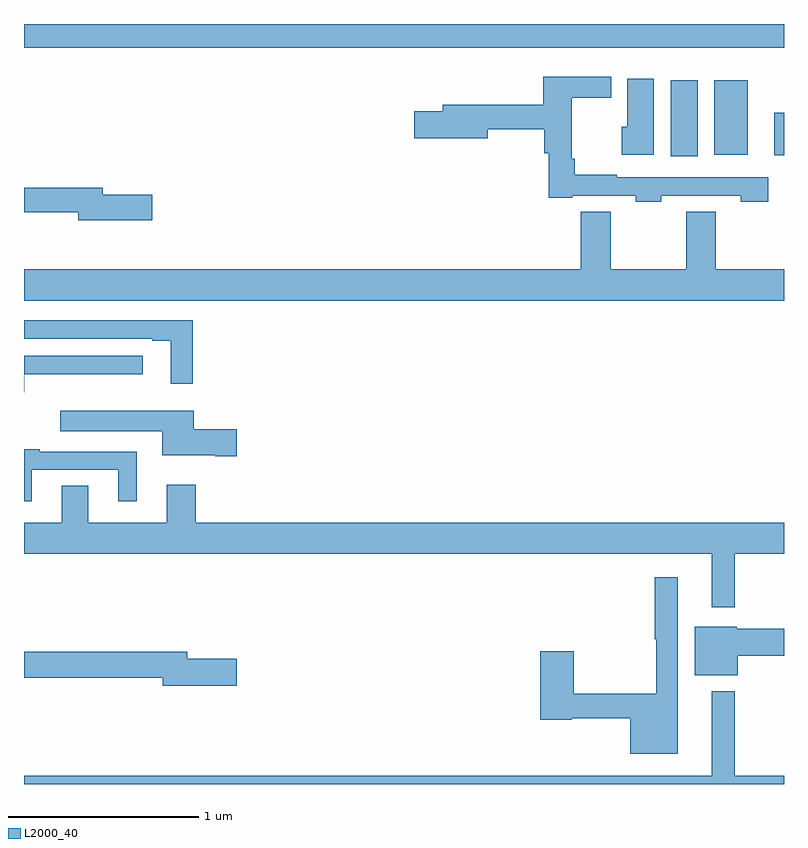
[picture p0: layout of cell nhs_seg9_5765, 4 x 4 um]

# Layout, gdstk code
import gdstk
lib = gdstk.Library(unit=1e-6, precision=1e-09)
def R(c, l, rs):  # rectangles x0, y0, x1, y1
    for r in rs: c.add(gdstk.rectangle(r[:2], r[2:], *l))
def P(c, l, *ps):  # polygons
    for p in ps: c.add(gdstk.Polygon(p, *l))
L2000_40 = (2000, 40)

nhs_seg9_5765 = lib.new_cell('nhs_seg9_5765')
R(nhs_seg9_5765, L2000_40, [(448.403,1239.804,448.546,1240.204), (448.949,1239.809,449,1240.033), (448.634,1239.812,448.81,1240.204), (445,1240.376,449,1240.5)])
P(nhs_seg9_5765, L2000_40, [(448.353,1239.597),(448.773,1239.597),(448.773,1239.565),(448.918,1239.565),(448.918,1239.693),(448.121,1239.693),(448.121,1239.706),(447.899,1239.706),(447.899,1239.79),(447.884,1239.79),(447.884,1240.113),(448.09,1240.113),(448.09,1240.222),(447.734,1240.222),(447.734,1240.075),(447.203,1240.075),(447.203,1240.041),(447.054,1240.041),(447.054,1239.899),(447.442,1239.899),(447.442,1239.946),(447.739,1239.946),(447.739,1239.821),(447.763,1239.821),(447.763,1239.585),(447.886,1239.585),(447.886,1239.597),(448.221,1239.597),(448.221,1239.565),(448.353,1239.565)],
  [(448.315,1240.213),(448.175,1240.213),(448.175,1239.96),(448.145,1239.96),(448.145,1239.812),(448.315,1239.812)],
  [(445.675,1239.602),(445.414,1239.602),(445.414,1239.638),(445,1239.638),(445,1239.51),(445.286,1239.51),(445.286,1239.467),(445.675,1239.467)],
  [(449,1239.208),(448.64,1239.208),(448.64,1239.512),(448.486,1239.512),(448.486,1239.208),(448.088,1239.208),(448.088,1239.512),(447.929,1239.512),(447.929,1239.208),(445,1239.208),(445,1239.044),(449,1239.044)],
  [(445.889,1238.94),(445,1238.94),(445,1238.844),(445.676,1238.844),(445.676,1238.832),(445.772,1238.832),(445.772,1238.607),(445.889,1238.607)],
  [(445.001,1238.657),(445.624,1238.657),(445.624,1238.754),(445,1238.754),(445,1238.561),(445.001,1238.561)],
  [(446.119,1238.366),(445.894,1238.366),(445.894,1238.464),(445.191,1238.464),(445.191,1238.357),(445.727,1238.357),(445.727,1238.231),(446.006,1238.231),(446.006,1238.224),(446.119,1238.224)],
  [(445.042,1238.154),(445.496,1238.154),(445.496,1237.989),(445.594,1237.989),(445.594,1238.25),(445.084,1238.25),(445.084,1238.263),(445,1238.263),(445,1237.989),(445.042,1237.989)],
  [(448.741,1237.712),(449,1237.712),(449,1237.876),(445.904,1237.876),(445.904,1238.074),(445.751,1238.074),(445.751,1237.876),(445.339,1237.876),(445.339,1238.069),(445.199,1238.069),(445.199,1237.876),(445,1237.876),(445,1237.712),(448.619,1237.712),(448.619,1237.431),(448.741,1237.431)],
  [(448.441,1237.588),(448.32,1237.588),(448.32,1237.263),(448.327,1237.263),(448.327,1236.974),(447.894,1236.974),(447.894,1237.198),(447.716,1237.198),(447.716,1236.838),(447.882,1236.838),(447.882,1236.846),(448.19,1236.846),(448.19,1236.659),(448.441,1236.659)],
  [(448.756,1237.175),(449,1237.175),(449,1237.317),(448.752,1237.317),(448.752,1237.327),(448.529,1237.327),(448.529,1237.073),(448.756,1237.073)],
  [(446.119,1237.16),(445.858,1237.16),(445.858,1237.196),(445,1237.196),(445,1237.06),(445.73,1237.06),(445.73,1237.018),(446.119,1237.018)],
  [(449,1236.544),(448.741,1236.544),(448.741,1236.988),(448.619,1236.988),(448.619,1236.544),(445,1236.544),(445,1236.5),(449,1236.5)])

lib.write_gds('nhs_seg9_5765.gds')
